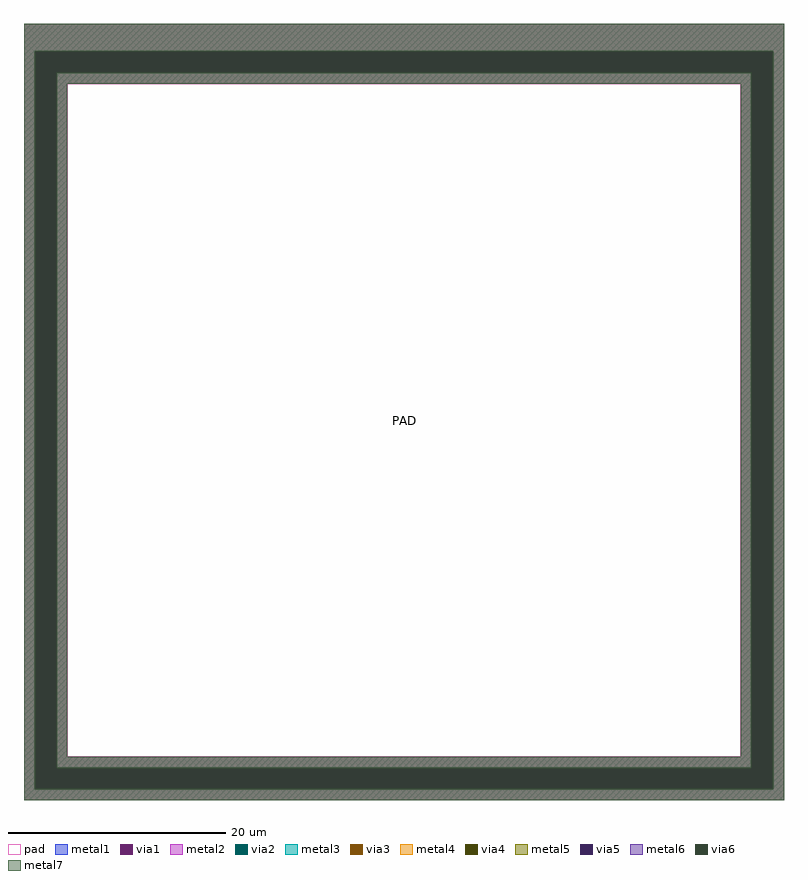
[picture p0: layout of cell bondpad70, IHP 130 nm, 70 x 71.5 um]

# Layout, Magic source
magic
tech ihp-sg13g2
<< metal1 >>
rect 0 6900 7000 7150
rect 0 100 100 6900
rect 300 6600 6700 6700
rect 300 400 400 6600
rect 6600 400 6700 6600
rect 300 300 6700 400
rect 6900 100 7000 6900
rect 0 0 7000 100
<< via1 >>
rect 100 6700 6900 6900
rect 100 300 300 6700
rect 6700 300 6900 6700
rect 100 100 6900 300
<< metal2 >>
rect 0 6900 7000 7150
rect 0 100 100 6900
rect 300 6600 6700 6700
rect 300 400 400 6600
rect 6600 400 6700 6600
rect 300 300 6700 400
rect 6900 100 7000 6900
rect 0 0 7000 100
<< via2 >>
rect 100 6700 6900 6900
rect 100 300 300 6700
rect 6700 300 6900 6700
rect 100 100 6900 300
<< metal3 >>
rect 0 6900 7000 7150
rect 0 100 100 6900
rect 300 6600 6700 6700
rect 300 400 400 6600
rect 6600 400 6700 6600
rect 300 300 6700 400
rect 6900 100 7000 6900
rect 0 0 7000 100
<< via3 >>
rect 100 6700 6900 6900
rect 100 300 300 6700
rect 6700 300 6900 6700
rect 100 100 6900 300
<< metal4 >>
rect 0 6900 7000 7150
rect 0 100 100 6900
rect 300 6600 6700 6700
rect 300 400 400 6600
rect 6600 400 6700 6600
rect 300 300 6700 400
rect 6900 100 7000 6900
rect 0 0 7000 100
<< via4 >>
rect 100 6700 6900 6900
rect 100 300 300 6700
rect 6700 300 6900 6700
rect 100 100 6900 300
<< metal5 >>
rect 0 6900 7000 7150
rect 0 100 100 6900
rect 300 6600 6700 6700
rect 300 400 400 6600
rect 6600 400 6700 6600
rect 300 300 6700 400
rect 6900 100 7000 6900
rect 0 0 7000 100
<< via5 >>
rect 100 6700 6900 6900
rect 100 300 300 6700
rect 6700 300 6900 6700
rect 100 100 6900 300
<< metal6 >>
rect 0 6900 7000 7150
rect 0 100 100 6900
rect 300 6600 6700 6700
rect 300 400 400 6600
rect 6600 400 6700 6600
rect 300 300 6700 400
rect 6900 100 7000 6900
rect 0 0 7000 100
<< via6 >>
rect 100 6700 6900 6900
rect 100 300 300 6700
rect 6700 300 6900 6700
rect 100 100 6900 300
<< metal7 >>
rect 0 6900 7000 7150
rect 0 100 100 6900
rect 300 6600 6700 6700
rect 300 400 400 6600
rect 6600 400 6700 6600
rect 300 300 6700 400
rect 6900 100 7000 6900
rect 0 0 7000 100
<< pad >>
rect 400 400 6600 6600
<< labels >>
flabel space 0 0 7000 7000 0 FreeSans 800 0 0 0 PAD
port 1 nsew
<< end >>
